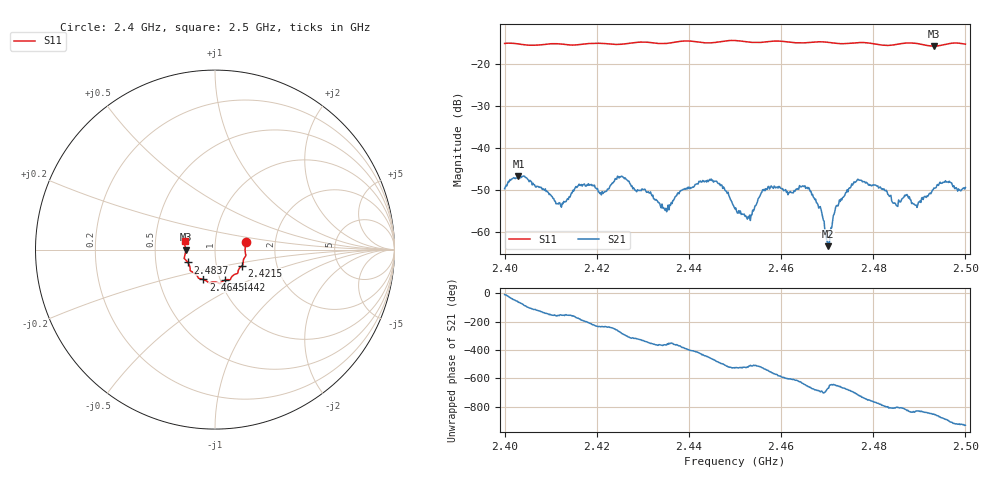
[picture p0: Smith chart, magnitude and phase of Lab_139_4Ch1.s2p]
# Hz S RI R 50
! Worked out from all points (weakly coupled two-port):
!   601 points, 2.4 GHz to 2.5 GHz, reference 50 ohm
!   highest |S21| = -46.75 dB at 2.403 GHz (marker M1); lowest = -63.5 dB at 2.4702 GHz (marker M2)
!   lowest |S11| = -15.7 dB at 2.4932 GHz (marker M3), VSWR 1.39, Z = 36 - j0.0548 ohm
!   |S11| at or under -10 dB: start of sweep to end of sweep
!   S12 and S22 are empty: the file has one direction only
!   S11 on the Smith chart (normalised r, x): 2.4 GHz: 1.41, +0.12; 2.4215 GHz: 1.33, -0.25; 2.4442 GHz: 1.05, -0.37; 2.4645 GHz: 0.83, -0.29; 2.4837 GHz: 0.73, -0.11; 2.5 GHz: 0.71, +0.07
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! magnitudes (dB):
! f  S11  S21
! 2.4 GHz  -15.1  -49.8
! 2.403 GHz  -15.2  -46.8
! 2.4118 GHz  -15.2  -53.1
! 2.4167 GHz  -15.3  -48.8
! 2.4215 GHz  -15.1  -50.7
! 2.4255 GHz  -15.3  -46.8
! 2.4333 GHz  -15.1  -53.1
! 2.4352 GHz  -15.1  -55.3
! 2.4442 GHz  -15.0  -48.1
! 2.45 GHz  -14.4  -54.6
! 2.453 GHz  -14.8  -56.8
! 2.4568 GHz  -14.7  -49.9
! 2.4645 GHz  -15.0  -49.3
! 2.4667 GHz  -14.8  -51.3
! 2.4702 GHz  -14.8  -63.5
! 2.4722 GHz  -15.1  -53.8
! 2.4762 GHz  -15.0  -48.2
! 2.4833 GHz  -15.6  -51.3
! 2.4837 GHz  -15.5  -51.5
! 2.4892 GHz  -15.1  -53.7
! 2.4932 GHz  -15.7  -49.6
! 2.5 GHz  -15.3  -49.5
